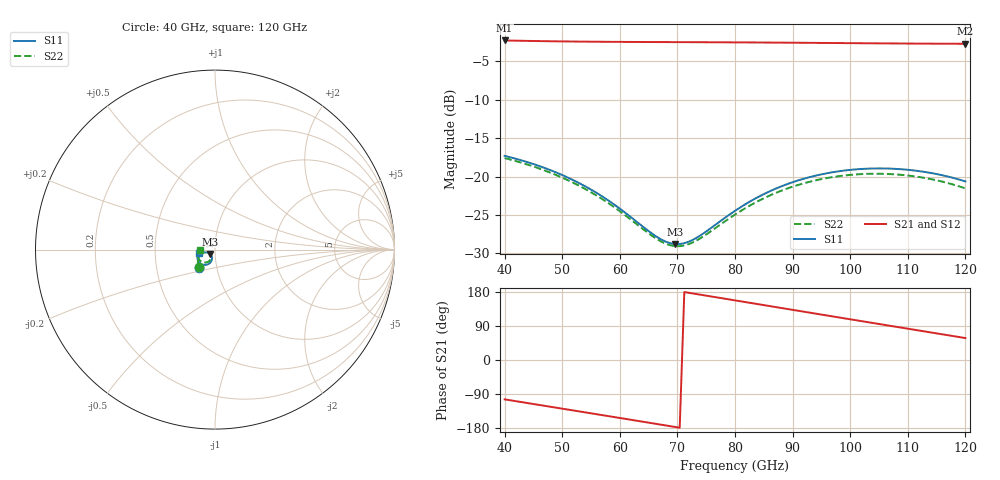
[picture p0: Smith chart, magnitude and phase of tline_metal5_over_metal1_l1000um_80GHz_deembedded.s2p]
! Created with skrf 2.0.1 (http://scikit-rf.org).
# GHz S DB R 50.0
!freq dBS11 angS11 dBS21 angS21 dBS12 angS12 dBS22 angS22
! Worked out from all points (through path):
!   101 points, 40 GHz to 120 GHz, reference 50 ohm
!   highest |S21| = -2.31 dB at 40 GHz (marker M1); lowest = -2.7 dB at 120 GHz (marker M2)
!   group delay of S21, straight-line fit = 6.9 ps
!   lowest |S11| = -28.8 dB at 69.6 GHz (marker M3), VSWR 1.08, Z = 47.3 - j2.32 ohm
!   |S11| at or under -10 dB: start of sweep to end of sweep
!   |S22| runs from -29.0 to -17.6 dB; largest |S21 - S12| = 8.6e-14
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40  -17.31 -130.0  -2.31 -103.9  -2.31 -103.9  -17.60 -131.6
46.4  -18.74 -145.4  -2.40 -119.6  -2.40 -119.6  -19.06 -147.6
53.6  -21.11 -159.0  -2.47 -137.2  -2.47 -137.2  -21.46 -161.8
57.6  -22.90 -163.5  -2.49 -147.1  -2.49 -147.1  -23.25 -166.6
60.8  -24.62 -164.1  -2.50 -155.0  -2.50 -155.0  -24.96 -167.5
64  -26.51 -160.3  -2.52 -162.9  -2.52 -162.9  -26.82 -164.1
67.2  -28.18 -149.8  -2.52 -170.8  -2.52 -170.8  -28.45 -154.2
69.6  -28.77 -137.7  -2.53 -176.7  -2.53 -176.7  -29.04 -142.9
71.2  -28.66 -129.2  -2.54 179.3  -2.54 179.3  -28.96 -134.8
72.8  -28.18 -121.6  -2.54 175.3  -2.54 175.3  -28.52 -127.6
76  -26.60 -111.5  -2.55 167.3  -2.55 167.3  -27.02 -118.0
80  -24.46 -107.5  -2.56 157.3  -2.56 157.3  -24.95 -114.3
86.4  -21.79 -111.5  -2.59 141.3  -2.59 141.3  -22.35 -118.9
90.4  -20.64 -117.0  -2.61 131.4  -2.61 131.4  -21.22 -124.7
93.6  -19.96 -122.1  -2.63 123.4  -2.63 123.4  -20.56 -130.2
97.6  -19.37 -129.1  -2.65 113.4  -2.65 113.4  -20.00 -137.6
100.8  -19.08 -134.9  -2.67 105.5  -2.67 105.5  -19.74 -143.7
104  -18.95 -140.7  -2.69 97.5  -2.69 97.5  -19.64 -150.0
107.2  -18.98 -146.5  -2.70 89.6  -2.70 89.6  -19.69 -156.2
110.4  -19.15 -152.1  -2.72 81.6  -2.72 81.6  -19.90 -162.3
113.6  -19.48 -157.6  -2.73 73.7  -2.73 73.7  -20.27 -168.2
120  -20.63 -167.2  -2.75 57.9  -2.75 57.9  -21.54 -178.8
